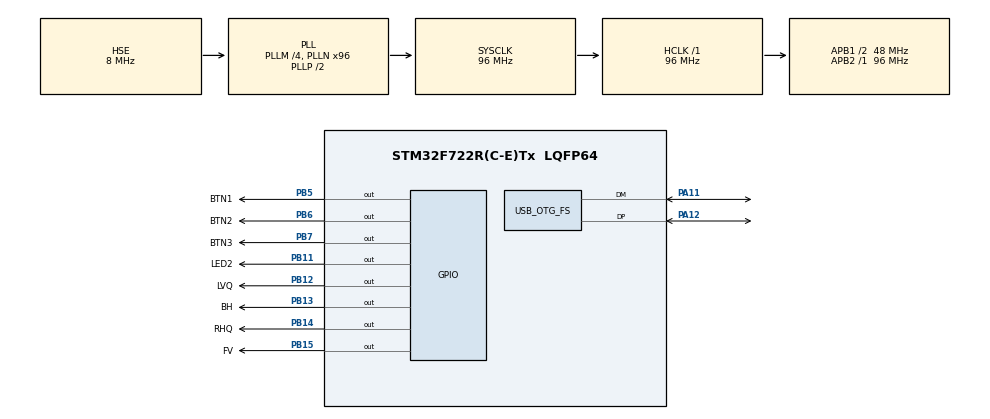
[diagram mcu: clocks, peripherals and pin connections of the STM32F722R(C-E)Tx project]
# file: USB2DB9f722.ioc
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Mcu.Family=STM32F7
Mcu.Name=STM32F722R(C-E)Tx
Mcu.Package=LQFP64
NVIC.OTG_FS_IRQn=true\:0\:0\:false\:false\:true\:false\:true
NVIC.PriorityGroup=NVIC_PRIORITYGROUP_4
PA11.Mode=Host_Only
PA11.Signal=USB_OTG_FS_DM
PA12.Mode=Host_Only
PA12.Signal=USB_OTG_FS_DP
PA13.Mode=Serial_Wire
PA13.Signal=SYS_JTMS-SWDIO
PA14.Mode=Serial_Wire
PA14.Signal=SYS_JTCK-SWCLK
PB11.GPIO_Label=LED2
PB11.Signal=GPIO_Output
PB12.GPIO_Label=LVQ
PB12.Signal=GPIO_Output
PB13.GPIO_Label=BH
PB13.Signal=GPIO_Output
PB14.GPIO_Label=RHQ
PB14.Signal=GPIO_Output
PB15.GPIO_Label=FV
PB15.Signal=GPIO_Output
PB5.GPIO_Label=BTN1
PB5.Signal=GPIO_Output
PB6.GPIO_Label=BTN2
PB6.Signal=GPIO_Output
PB7.GPIO_Label=BTN3
PB7.Signal=GPIO_Output
PH0-OSC_IN.Mode=HSE-External-Oscillator
PH0-OSC_IN.Signal=RCC_OSC_IN
PH1-OSC_OUT.Mode=HSE-External-Oscillator
PH1-OSC_OUT.Signal=RCC_OSC_OUT
ProjectManager.HeapSize=0x2000
ProjectManager.StackSize=0x2000
ProjectManager.TargetToolchain=STM32CubeIDE
RCC.AHBFreq_Value=96000000
RCC.APB1CLKDivider=RCC_HCLK_DIV2
RCC.APB1Freq_Value=48000000
RCC.APB1TimFreq_Value=96000000
RCC.APB2Freq_Value=96000000
RCC.APB2TimFreq_Value=96000000
RCC.CortexFreq_Value=96000000
RCC.HCLKFreq_Value=96000000
RCC.HSE_VALUE=8000000
RCC.HSI_VALUE=16000000
RCC.LSE_VALUE=32768
RCC.PLLM=4
RCC.PLLN=96
RCC.PLLQ=4
RCC.PWREXT_OverDrive=PWREXT_OverDrive_ACTIVATED
RCC.PWR_Regulator_Voltage_Scale=PWR_REGULATOR_VOLTAGE_SCALE1
RCC.SYSCLKFreq_VALUE=96000000
RCC.SYSCLKSource=RCC_SYSCLKSOURCE_PLLCLK
RCC.USBFreq_Value=48000000
RCC.VCOOutputFreq_Value=192000000
TIM2.Period=1000
TIM2.Prescaler=32000
TIM3.Period=1000
TIM3.Prescaler=32000
USB_HOST.USBH_HandleTypeDef-HID_FS=hUsbHostFS
USB_HOST.VirtualModeFS=Hid
USB_OTG_FS.VirtualMode=Host_Only
USB_OTG_FS.phy_itface=HCD_PHY_EMBEDDED
VP_TIM2_VS_ClockSourceINT.Mode=Internal
VP_TIM3_VS_ClockSourceINT.Mode=Internal
VP_USB_HOST_VS_USB_HOST_HID_FS.Mode=HID_FS
board=custom

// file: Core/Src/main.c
/* USER CODE BEGIN Header */
/**
  ******************************************************************************
  * @file           : main.c
  * @brief          : Main program body
  ******************************************************************************
  * @attention
  *
  * <h2><center>&copy; Copyright (c) 2020 STMicroelectronics.
  * All rights reserved.</center></h2>
  *
  * This software component is licensed by ST under BSD 3-Clause license,
  * the "License"; You may not use this file except in compliance with the
  * License. You may obtain a copy of the License at:
  *                        opensource.org/licenses/BSD-3-Clause
  *
  ******************************************************************************
  */
/* USER CODE END Header */

#include "main.h"
#include "usb_host.h"
#include "usbh_hid.h"
#include "usbh_hid_gamepad.h"
#include "usbh_hid_mouse.h"

/* USER CODE BEGIN PD */
 HID_USBDevicesTypeDef* usb;

/* USER CODE END PD */

TIM_HandleTypeDef htim2;
TIM_HandleTypeDef htim3;

#define MOUSEX	0
#define MOUSEY	1
#define Q_RATELIMIT 500
#define Q_BUFFERLIMIT 300
#define DPI_DIVIDER 2

volatile int8_t mouseDirectionX = 0;		// X direction (0 = decrement, 1 = increment)
volatile int8_t mouseEncoderPhaseX = 0;		// X Quadrature phase (0-3)
volatile int8_t mouseDirectionY = 0;		// Y direction (0 = decrement, 1 = increment)
volatile int8_t mouseEncoderPhaseY = 0;		// Y Quadrature phase (0-3)
volatile int16_t mouseDistanceX = 0;		// Distance left for mouse to move
volatile int16_t mouseDistanceY = 0;		// Distance left for mouse to move
volatile uint8_t xTimerTop = 1;				// X axis timer TOP value
volatile uint8_t yTimerTop = 1;				// Y axis timer TOP value

void SystemClock_Config(void);
static void MX_GPIO_Init(void);
static void MX_TIM2_Init(void);
static void MX_TIM3_Init(void);
void MX_USB_HOST_Process(void);

/* USER CODE BEGIN 0 */
uint8_t processMouseMovement(int8_t movementUnits, uint8_t axis, int limitRate, int dpiDivide)
{
	uint16_t timerTopValue = 0;

	// Set the mouse movement direction and record the movement units
	if (movementUnits > 0) {
		// Moving in the positive direction

		// Apply DPI limiting if required
		if (dpiDivide) {
			movementUnits /= DPI_DIVIDER;
			if (movementUnits < 1) movementUnits = 1;
		}

		// Add the movement units to the quadrature output buffer
		if (axis == MOUSEX) mouseDistanceX += movementUnits;
		else mouseDistanceY += movementUnits;
	} else if (movementUnits < 0) {
		// Moving in the negative direction

		// Apply DPI limiting if required
		if (dpiDivide) {
			movementUnits /= DPI_DIVIDER;
			if (movementUnits > -1) movementUnits = -1;
		}

		// Add the movement units to the quadrature output buffer
		if (axis == MOUSEX) mouseDistanceX += -movementUnits;
		else mouseDistanceY += -movementUnits;
	} else {
		if (axis == MOUSEX) mouseDistanceX = 0;
		else mouseDistanceY = 0;
	}

	// Apply the quadrature output buffer limit
	if (axis == MOUSEX) {
		if (mouseDistanceX > Q_BUFFERLIMIT) mouseDistanceX = Q_BUFFERLIMIT;
	} else {
		if (mouseDistanceY > Q_BUFFERLIMIT) mouseDistanceY = Q_BUFFERLIMIT;
	}

	// Get the current value of the quadrature output buffer
	if (axis == MOUSEX) timerTopValue = mouseDistanceX;
	else timerTopValue = mouseDistanceY;

	// Range check the quadrature output buffer
	if (timerTopValue > 127) timerTopValue = 127;

	// Since the USB reports arrive at 100-125 Hz (even if there is only
	// a small amount of movement, we have to output the quadrature
	// at minimum rate to keep up with the reports (otherwise it creates
	// a slow lag).  If we assume 100 Hz of reports then the following
	// is true:
	//
	// 127 movements = 12,700 interrupts/sec
	// 100 movements = 10,000 interrupts/sec
	//  50 movements =  5,000 interrupts/sec
	//  10 movements =  1,000 interrupts/sec
	//   1 movement  =    100 interrupts/sec
	//
	// Timer speed is 15,625 ticks per second = 64 uS per tick
	//
	// Required timer TOP values (0 is fastest so all results are x-1):
	// 1,000,000 / 12,700 = 78.74 / 64 uS = 1.2 - 1
	// 1,000,000 / 10,000 = 100 / 64 uS = 1.56 - 1
	// 1,000,000 / 5,000 = 200 / 64 uS = 3.125 - 1
	// 1,000,000 / 1,000 = 1000 uS / 64 uS = 15.63 - 1
	// 1,000,000 / 100 = 10000 uS / 64 uS = 156.25 - 1
	//
	// So:
	//   timerTopValue = 10000 / timerTopValue; // i.e. 1,000,000 / (timerTopValue * 100)
	//   timerTopValue = timerTopValue / 64;
	//   timerTopValue = timerTopValue - 1;
    if (timerTopValue !=0)
    {
	timerTopValue = ((10000 / timerTopValue) / 64) - 1;
    }
    else
	{
    	timerTopValue = 255;
	}
	// If the 'Slow' configuration jumper is shorted; apply the quadrature rate limit
	if (limitRate) {
		// Rate limit is on

		// Rate limit is provided in hertz
		// Each timer tick is 64 uS
		//
		// Convert hertz into period in uS
		// 1500 Hz = 1,000,000 / 1500 = 666.67 uS
		//
		// Convert period into timer ticks (* 4 due to quadrature)
		// 666.67 us / (64 * 4) = 2.6 ticks
		//
		// Timer TOP is 0-255, so subtract 1
		// 10.42 ticks - 1 = 9.42 ticks

		uint32_t rateLimit = ((1000000 / Q_RATELIMIT) / 256) - 1;

		// If the timerTopValue is less than the rate limit, we output
		// at the maximum allowed rate.  This will cause addition lag that
		// is handled by the quadrature output buffer limit above.
		if (timerTopValue < (uint16_t)rateLimit) timerTopValue = (uint16_t)rateLimit;
	}

	// Return the timer TOP value
	return (uint8_t)timerTopValue;
}
/* USER CODE END 0 */

int main(void)
{
  /* USER CODE BEGIN 1 */
	uint8_t *joymap = 0U;
	HID_MOUSE_Info_TypeDef    *mousemap;

    uint8_t limitRate = 0U;
	uint8_t dpiDivide = 0U;

		// Get the state of the rate limiting (slow) header
	//	if ((RATESW_PIN & RATESW) == 0) limitRate = 1;

		// Get the state of the DPI divider header
		//if ((DPISW_PIN & DPISW) == 0) dpiDivide = 1;

  /* USER CODE END 1 */

  /* MCU Configuration--------------------------------------------------------*/

  /* Reset of all peripherals, Initializes the Flash interface and the Systick. */
  HAL_Init();

  /* Configure the system clock */
  SystemClock_Config();

  /* Initialize all configured peripherals */
  MX_GPIO_Init();
  MX_TIM2_Init();
  MX_TIM3_Init();
  MX_USB_HOST_Init();
  /* USER CODE BEGIN 2 */
//HAL_TIM_Base_Start_IT(&htim2) ;
//HAL_TIM_Base_Start_IT(&htim3) ;
/* USER CODE END 2 */

	HAL_TIM_Base_Start_IT(&htim2) ;
  HAL_TIM_Base_Start_IT(&htim3) ;

  /* Infinite loop */
  while (1)
  {
    MX_USB_HOST_Process();

    usb = USBH_HID_GetUSBDev();

    				mousemap =  usb->mouse;

    				if (mousemap!=NULL)
    				{
    					// +X = Mouse going right
    							// -X = Mouse going left
    							// +Y = Mouse going down
    							// -Y = Mouse going up
    							//
    							// X and Y have a range of -127 to +127

    							// If the mouse movement changes direction then disregard any remaining
    							// movement units in the previous direction.
    							if (mousemap->x > 0 && mouseDirectionX == 0) {
    								mouseDistanceX = 0;
    								mouseDirectionX = 1;
    							} else if (mousemap->x < 0 && mouseDirectionX == 1) {
    								mouseDistanceX = 0;
    								mouseDirectionX = 0;
    							} else if (mousemap->y > 0 && mouseDirectionY == 0) {
    								mouseDistanceY = 0;
    								mouseDirectionY = 1;
    							} else if (mousemap->y < 0 && mouseDirectionY == 1) {
    								mouseDistanceY = 0;
    								mouseDirectionY = 0;
    							}

    							// Process mouse X and Y movement -------------------------------------
    							//HAL_TIM_Base_Start_IT(&htim2) ;
    							//HAL_TIM_Base_Start_IT(&htim3) ;

    							xTimerTop = processMouseMovement(mousemap->x, MOUSEX, 0U,0U);
    							yTimerTop = processMouseMovement(mousemap->y, MOUSEY, 0U,0U);

    							// Process mouse buttons ----------------------------------------------

    		 					HAL_GPIO_WritePin(BTN1_GPIO_Port, BTN1_Pin, mousemap->buttons[2]);
    		    				HAL_GPIO_WritePin(BTN2_GPIO_Port, BTN2_Pin, mousemap->buttons[1]);
    		    				HAL_GPIO_WritePin(BTN3_GPIO_Port, BTN3_Pin, mousemap->buttons[0]);

    				}

    				if (usb->gamepad2)
    				{

    					joymap = usb->gamepad2;
    					//RIGHT = (*joymap&0x1);
    					//LEFT = (*joymap>>1&0x1);
    					//UP = (*joymap>>3&0x1);
    					//DOWN = (*joymap>>2&0x1);

    					//BTN1 =  (*joymap>>6&0x1);
    				    //BTN2 =  (*joymap>>5&0x1);
    					//BTN3 =  (*joymap>>4&0x1);
    					//HAL_GPIO_WritePin(LVQ_GPIO_Port, LVQ_Pin, ;

    					HAL_GPIO_WritePin(RHQ_GPIO_Port, RHQ_Pin, (*joymap&0x1));
    					HAL_GPIO_WritePin(LVQ_GPIO_Port, LVQ_Pin, (*joymap>>1&0x1));
    					HAL_GPIO_WritePin(BH_GPIO_Port, BH_Pin, (*joymap>>2&0x1));
    					HAL_GPIO_WritePin(FV_GPIO_Port, FV_Pin, (*joymap>>3&0x1));
    					HAL_GPIO_WritePin(BTN1_GPIO_Port, BTN1_Pin, (*joymap>>4&0x1));
    					HAL_GPIO_WritePin(BTN2_GPIO_Port, BTN2_Pin, (*joymap>>5&0x1));
    					HAL_GPIO_WritePin(BTN3_GPIO_Port, BTN3_Pin, (*joymap>>6&0x1));
    				}

  }
  /* USER CODE END 3 */

  /* USER CODE END 3 */
}

void SystemClock_Config(void)
{
  RCC_OscInitTypeDef RCC_OscInitStruct = {0};
  RCC_ClkInitTypeDef RCC_ClkInitStruct = {0};
  RCC_PeriphCLKInitTypeDef PeriphClkInitStruct = {0};

  /** Configure the main internal regulator output voltage
  */
  __HAL_RCC_PWR_CLK_ENABLE();
  __HAL_PWR_VOLTAGESCALING_CONFIG(PWR_REGULATOR_VOLTAGE_SCALE1);
  /** Initializes the CPU, AHB and APB busses clocks
  */
  RCC_OscInitStruct.OscillatorType = RCC_OSCILLATORTYPE_HSE;
  RCC_OscInitStruct.HSEState = RCC_HSE_ON;
  RCC_OscInitStruct.PLL.PLLState = RCC_PLL_ON;
  RCC_OscInitStruct.PLL.PLLSource = RCC_PLLSOURCE_HSE;
  RCC_OscInitStruct.PLL.PLLM = 4;
  RCC_OscInitStruct.PLL.PLLN = 96;
  RCC_OscInitStruct.PLL.PLLP = RCC_PLLP_DIV2;
  RCC_OscInitStruct.PLL.PLLQ = 4;
  if (HAL_RCC_OscConfig(&RCC_OscInitStruct) != HAL_OK)
  {
    Error_Handler();
  }
  /** Activate the Over-Drive mode
  */
  if (HAL_PWREx_EnableOverDrive() != HAL_OK)
  {
    Error_Handler();
  }
  /** Initializes the CPU, AHB and APB busses clocks
  */
  RCC_ClkInitStruct.ClockType = RCC_CLOCKTYPE_HCLK|RCC_CLOCKTYPE_SYSCLK
                              |RCC_CLOCKTYPE_PCLK1|RCC_CLOCKTYPE_PCLK2;
  RCC_ClkInitStruct.SYSCLKSource = RCC_SYSCLKSOURCE_PLLCLK;
  RCC_ClkInitStruct.AHBCLKDivider = RCC_SYSCLK_DIV1;
  RCC_ClkInitStruct.APB1CLKDivider = RCC_HCLK_DIV2;
  RCC_ClkInitStruct.APB2CLKDivider = RCC_HCLK_DIV1;

  if (HAL_RCC_ClockConfig(&RCC_ClkInitStruct, FLASH_LATENCY_3) != HAL_OK)
  {
    Error_Handler();
  }
  PeriphClkInitStruct.PeriphClockSelection = RCC_PERIPHCLK_CLK48;
  PeriphClkInitStruct.Clk48ClockSelection = RCC_CLK48SOURCE_PLL;
  if (HAL_RCCEx_PeriphCLKConfig(&PeriphClkInitStruct) != HAL_OK)
  {
    Error_Handler();
  }
}

static void MX_TIM2_Init(void)
{

  TIM_ClockConfigTypeDef sClockSourceConfig = {0};
  TIM_MasterConfigTypeDef sMasterConfig = {0};

  htim2.Instance = TIM2;
  htim2.Init.Prescaler = 32000;
  htim2.Init.CounterMode = TIM_COUNTERMODE_UP;
  htim2.Init.Period = 1000;
  htim2.Init.ClockDivision = TIM_CLOCKDIVISION_DIV1;
  htim2.Init.AutoReloadPreload = TIM_AUTORELOAD_PRELOAD_DISABLE;
  if (HAL_TIM_Base_Init(&htim2) != HAL_OK)
  {
    Error_Handler();
  }
  sClockSourceConfig.ClockSource = TIM_CLOCKSOURCE_INTERNAL;
  if (HAL_TIM_ConfigClockSource(&htim2, &sClockSourceConfig) != HAL_OK)
  {
    Error_Handler();
  }
  sMasterConfig.MasterOutputTrigger = TIM_TRGO_RESET;
  sMasterConfig.MasterSlaveMode = TIM_MASTERSLAVEMODE_DISABLE;
  if (HAL_TIMEx_MasterConfigSynchronization(&htim2, &sMasterConfig) != HAL_OK)
  {
    Error_Handler();
  }

}

static void MX_TIM3_Init(void)
{

  TIM_ClockConfigTypeDef sClockSourceConfig = {0};
  TIM_MasterConfigTypeDef sMasterConfig = {0};

  htim3.Instance = TIM3;
  htim3.Init.Prescaler = 32000;
  htim3.Init.CounterMode = TIM_COUNTERMODE_UP;
  htim3.Init.Period = 1000;
  htim3.Init.ClockDivision = TIM_CLOCKDIVISION_DIV1;
  htim3.Init.AutoReloadPreload = TIM_AUTORELOAD_PRELOAD_DISABLE;
  if (HAL_TIM_Base_Init(&htim3) != HAL_OK)
  {
    Error_Handler();
  }
  sClockSourceConfig.ClockSource = TIM_CLOCKSOURCE_INTERNAL;
  if (HAL_TIM_ConfigClockSource(&htim3, &sClockSourceConfig) != HAL_OK)
  {
    Error_Handler();
  }
  sMasterConfig.MasterOutputTrigger = TIM_TRGO_RESET;
  sMasterConfig.MasterSlaveMode = TIM_MASTERSLAVEMODE_DISABLE;
  if (HAL_TIMEx_MasterConfigSynchronization(&htim3, &sMasterConfig) != HAL_OK)
  {
    Error_Handler();
  }

}

static void MX_GPIO_Init(void)
{
  GPIO_InitTypeDef GPIO_InitStruct = {0};

  /* GPIO Ports Clock Enable */
  __HAL_RCC_GPIOH_CLK_ENABLE();
  __HAL_RCC_GPIOB_CLK_ENABLE();
  __HAL_RCC_GPIOA_CLK_ENABLE();

  /*Configure GPIO pin Output Level */
  HAL_GPIO_WritePin(GPIOB, LED2_Pin|LVQ_Pin|BH_Pin|RHQ_Pin
                          |FV_Pin|BTN1_Pin|BTN2_Pin|BTN3_Pin, GPIO_PIN_RESET);

  /*Configure GPIO pins : LED2_Pin LVQ_Pin BH_Pin RHQ_Pin
                           FV_Pin BTN1_Pin BTN2_Pin BTN3_Pin */
  GPIO_InitStruct.Pin = LED2_Pin|LVQ_Pin|BH_Pin|RHQ_Pin
                          |FV_Pin|BTN1_Pin|BTN2_Pin|BTN3_Pin;
  GPIO_InitStruct.Mode = GPIO_MODE_OUTPUT_PP;
  GPIO_InitStruct.Pull = GPIO_NOPULL;
  GPIO_InitStruct.Speed = GPIO_SPEED_FREQ_LOW;
  HAL_GPIO_Init(GPIOB, &GPIO_InitStruct);

}

/* USER CODE BEGIN 4 */
void HAL_TIM_PeriodElapsedCallback(TIM_HandleTypeDef *htim)
{
	if (htim->Instance == TIM2)
	{

		// Process X output
		if (mouseDistanceX > 0) {
			// Set the output pins according to the current phase BH RHQ FV LVQ

			if (mouseEncoderPhaseX == 0) HAL_GPIO_WritePin(BH_GPIO_Port, BH_Pin, 1);	// Set X1 to 1
			if (mouseEncoderPhaseX == 1) HAL_GPIO_WritePin(RHQ_GPIO_Port, RHQ_Pin, 1);	// Set X2 to 1
			if (mouseEncoderPhaseX == 2) HAL_GPIO_WritePin(BH_GPIO_Port, BH_Pin, 0);	// Set X1 to 0
			if (mouseEncoderPhaseX == 3) HAL_GPIO_WritePin(RHQ_GPIO_Port, RHQ_Pin, 0);	// Set X2 to 0

			// Change phase
			if (mouseDirectionX == 0) mouseEncoderPhaseX--; else mouseEncoderPhaseX++;

			// Decrement the distance left to move
			mouseDistanceX--;

			// Range check the phase
			if ((mouseDirectionX == 1) && (mouseEncoderPhaseX > 3)) mouseEncoderPhaseX = 0;
			if ((mouseDirectionX == 0) && (mouseEncoderPhaseX < 0)) mouseEncoderPhaseX = 3;
		} else {
			// Reset the phase if the mouse isn't moving
			mouseEncoderPhaseX = 0;
		}

		// Set the timer top value for the next interrupt
		if (xTimerTop ==0)
		{
			htim->Instance->ARR = 1;
		}
		else
		{
			htim->Instance->ARR = xTimerTop;
		}

	}

	if (htim->Instance == TIM3)
	{

		// Process Y output
			if (mouseDistanceY > 0) {
				// Set the output pins according to the current phase
				if (mouseEncoderPhaseY == 3) HAL_GPIO_WritePin(FV_GPIO_Port, LVQ_Pin, 0);	// Set Y1 to 0
				if (mouseEncoderPhaseY == 2) HAL_GPIO_WritePin(LVQ_GPIO_Port, FV_Pin, 0);	// Set Y2 to 0
				if (mouseEncoderPhaseY == 1) HAL_GPIO_WritePin(FV_GPIO_Port, LVQ_Pin, 1);	// Set Y1 to 1
				if (mouseEncoderPhaseY == 0) HAL_GPIO_WritePin(LVQ_GPIO_Port, FV_Pin, 1);	// Set Y2 to 1

				// Change phase
				if (mouseDirectionY == 0) mouseEncoderPhaseY--; else mouseEncoderPhaseY++;

				// Decrement the distance left to move
				mouseDistanceY--;

				// Range check the phase
				if ((mouseDirectionY == 1) && (mouseEncoderPhaseY > 3)) mouseEncoderPhaseY = 0;
				if ((mouseDirectionY == 0) && (mouseEncoderPhaseY < 0)) mouseEncoderPhaseY = 3;
			} else {
				// Reset the phase if the mouse isn't moving
				mouseEncoderPhaseY = 0;
			}

			// Set the timer top value for the next interrupt
			if (yTimerTop == 0)
			{
				htim->Instance->ARR = 1;
			}else
			{
				htim->Instance->ARR = yTimerTop;
			}

	}

}
/* USER CODE END 4 */

void Error_Handler(void)
{
}

/************************ (C) COPYRIGHT STMicroelectronics *****END OF FILE****/
